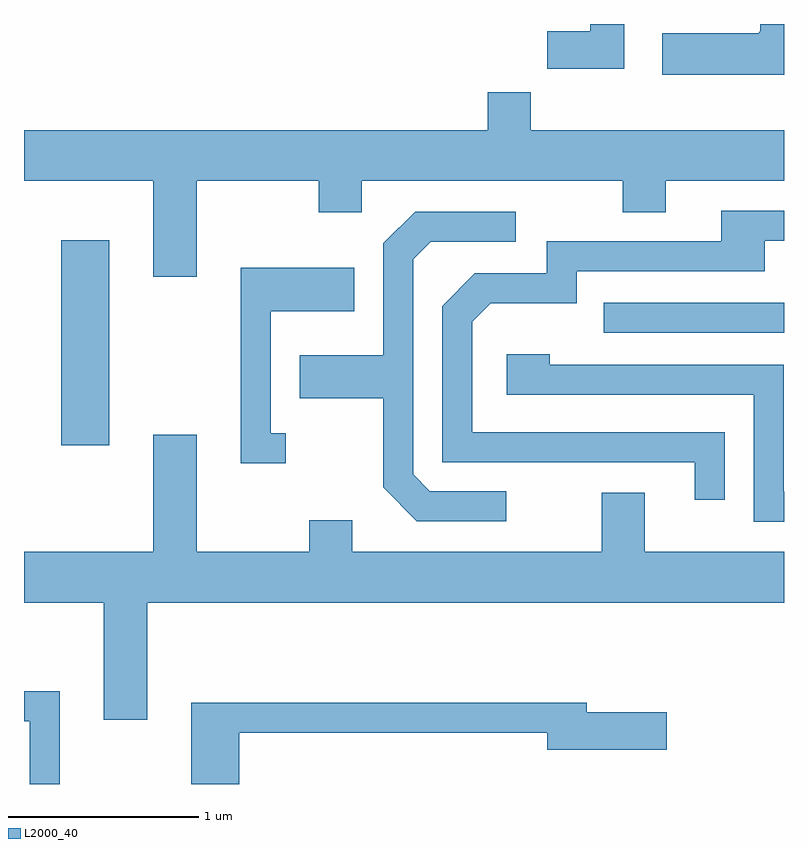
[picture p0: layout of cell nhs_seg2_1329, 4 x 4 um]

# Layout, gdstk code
import gdstk
lib = gdstk.Library(unit=1e-6, precision=1e-09)
def R(c, l, rs):  # rectangles x0, y0, x1, y1
    for r in rs: c.add(gdstk.rectangle(r[:2], r[2:], *l))
def P(c, l, *ps):  # polygons
    for p in ps: c.add(gdstk.Polygon(p, *l))
L2000_40 = (2000, 40)

nhs_seg2_1329 = lib.new_cell('nhs_seg2_1329')
R(nhs_seg2_1329, L2000_40, [(223.806,1053.586,224.059,1054.664), (226.663,1054.176,227.611,1054.334)])
P(nhs_seg2_1329, L2000_40, [(226.769,1055.802),(226.591,1055.802),(226.591,1055.764),(226.366,1055.764),(226.366,1055.566),(226.769,1055.566)],
  [(227.611,1055.802),(227.486,1055.802),(227.486,1055.76),(227.48,1055.76),(227.48,1055.754),(226.971,1055.754),(226.971,1055.536),(227.611,1055.536)],
  [(224.519,1054.976),(225.161,1054.976),(225.161,1054.811),(225.389,1054.811),(225.389,1054.976),(226.761,1054.976),(226.761,1054.811),(226.989,1054.811),(226.989,1054.976),(227.611,1054.976),(227.611,1055.244),(226.279,1055.244),(226.279,1055.444),(226.051,1055.444),(226.051,1055.244),(223.611,1055.244),(223.611,1054.976),(224.291,1054.976),(224.291,1054.471),(224.519,1054.471)],
  [(227.299,1053.654),(225.969,1053.654),(225.969,1054.234),(226.067,1054.331),(226.519,1054.331),(226.519,1054.501),(227.509,1054.501),(227.509,1054.661),(227.611,1054.661),(227.611,1054.819),(227.281,1054.819),(227.281,1054.659),(226.361,1054.659),(226.361,1054.489),(225.984,1054.489),(225.811,1054.317),(225.811,1053.496),(227.141,1053.496),(227.141,1053.298),(227.299,1053.298)],
  [(226.148,1053.344),(225.747,1053.344),(225.659,1053.432),(225.659,1054.564),(225.752,1054.656),(226.198,1054.656),(226.198,1054.814),(225.669,1054.814),(225.501,1054.647),(225.501,1054.059),(225.061,1054.059),(225.061,1053.831),(225.501,1053.831),(225.501,1053.364),(225.679,1053.186),(226.148,1053.186)],
  [(224.988,1053.649),(224.909,1053.649),(224.909,1054.291),(225.349,1054.291),(225.349,1054.519),(224.751,1054.519),(224.751,1053.491),(224.988,1053.491)],
  [(227.611,1053.339),(227.609,1053.339),(227.609,1054.009),(226.379,1054.009),(226.379,1054.064),(226.151,1054.064),(226.151,1053.851),(227.451,1053.851),(227.451,1053.181),(227.611,1053.181)],
  [(227.611,1053.024),(226.879,1053.024),(226.879,1053.334),(226.651,1053.334),(226.651,1053.024),(225.339,1053.024),(225.339,1053.189),(225.111,1053.189),(225.111,1053.024),(224.519,1053.024),(224.519,1053.639),(224.291,1053.639),(224.291,1053.024),(223.611,1053.024),(223.611,1052.756),(224.031,1052.756),(224.031,1052.141),(224.259,1052.141),(224.259,1052.756),(227.611,1052.756)],
  [(223.799,1052.289),(223.611,1052.289),(223.611,1052.131),(223.641,1052.131),(223.641,1051.802),(223.799,1051.802)],
  [(224.744,1052.071),(226.366,1052.071),(226.366,1051.981),(226.994,1051.981),(226.994,1052.179),(226.574,1052.179),(226.574,1052.229),(224.491,1052.229),(224.491,1051.802),(224.744,1051.802)])

lib.write_gds('nhs_seg2_1329.gds')
